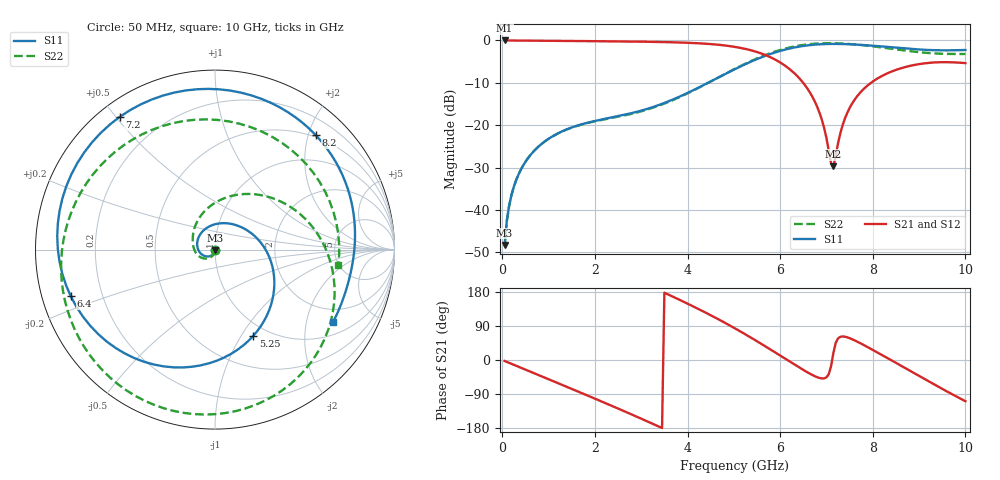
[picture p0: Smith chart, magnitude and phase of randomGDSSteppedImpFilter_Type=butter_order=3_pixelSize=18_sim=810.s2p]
! freq	dB(S11)	phase(S11)	dB(S12)	phase(S12)
!  dB(S21)	phase(S21)	dB(S22)	phase(S22)
!S-par simulation data
#  GHz  S  DB  R 50
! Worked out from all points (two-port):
!   200 points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, 50 MHz to 10 GHz, reference 50 ohm
!   highest |S21| = 0.00 dB at 50 MHz (marker M1); lowest = -29.7 dB at 7.15 GHz (marker M2)
!   |S21| within 3 dB of the highest: start of sweep to 5.574 GHz
!   lowest |S11| = -48.2 dB at 50 MHz (marker M3), VSWR 1.01, Z = 50 - j0.388 ohm
!   |S11| at or under -10 dB: start of sweep to 4.441 GHz
!   |S22| runs from -48.5 to -0.6 dB; largest |S21 - S12| = 0
!   S11 on the Smith chart (normalised r, x): 50 MHz: 1.00, -0.01; 5.25 GHz: 0.85, -1.13; 6.4 GHz: 0.09, -0.16; 7.2 GHz: 0.06, +0.51; 8.2 GHz: 0.46, +2.13; 10 GHz: 1.43, -2.88
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0.05  -48.22 -91.4  -0.00 -2.6  -0.00 -2.6  -48.52 -90.9
0.2  -36.38 -101.0  -0.02 -10.2  -0.02 -10.2  -36.42 -98.1
0.5  -28.64 -119.6  -0.04 -25.4  -0.04 -25.4  -28.58 -112.0
1.15  -22.20 -159.1  -0.09 -58.4  -0.09 -58.4  -22.24 -140.2
1.75  -19.67 163.3  -0.15 -89.1  -0.15 -89.1  -19.73 -164.5
2.5  -17.86 113.5  -0.22 -128.1  -0.22 -128.1  -18.01 166.8
3.4  -15.15 53.3  -0.36 -176.8  -0.36 -176.8  -15.30 130.0
4.35  -10.51 -5.6  -0.74 127.5  -0.74 127.5  -10.55 77.9
5.05  -6.63 -51.5  -1.57 81.7  -1.57 81.7  -6.55 32.3
5.25  -5.59 -66.0  -2.00 67.7  -2.00 67.7  -5.47 18.5
5.85  -2.97 -113.6  -4.27 23.1  -4.27 23.1  -2.76 -24.2
6.4  -1.47 -162.1  -8.76 -19.0  -8.76 -19.0  -1.22 -64.5
6.7  -1.04 170.6  -13.37 -39.8  -13.37 -39.8  -0.80 -86.3
7.15  -0.82 130.1  -29.69 18.9  -29.69 18.9  -0.65 -118.5
7.2  -0.82 125.8  -27.18 45.3  -27.18 45.3  -0.66 -122.0
7.55  -0.92 96.3  -14.96 55.1  -14.96 55.1  -0.88 -146.9
8.2  -1.41 48.7  -8.36 13.1  -8.36 13.1  -1.66 164.7
8.35  -1.55 39.2  -7.59 2.9  -7.59 2.9  -1.88 152.6
8.8  -1.97 14.3  -6.01 -28.1  -6.01 -28.1  -2.52 113.1
9.15  -2.22 -1.5  -5.36 -52.2  -5.36 -52.2  -2.92 78.9
9.6  -2.33 -18.4  -5.12 -82.8  -5.12 -82.8  -3.17 32.7
10  -2.25 -31.7  -5.35 -108.6  -5.35 -108.6  -3.19 -7.1
